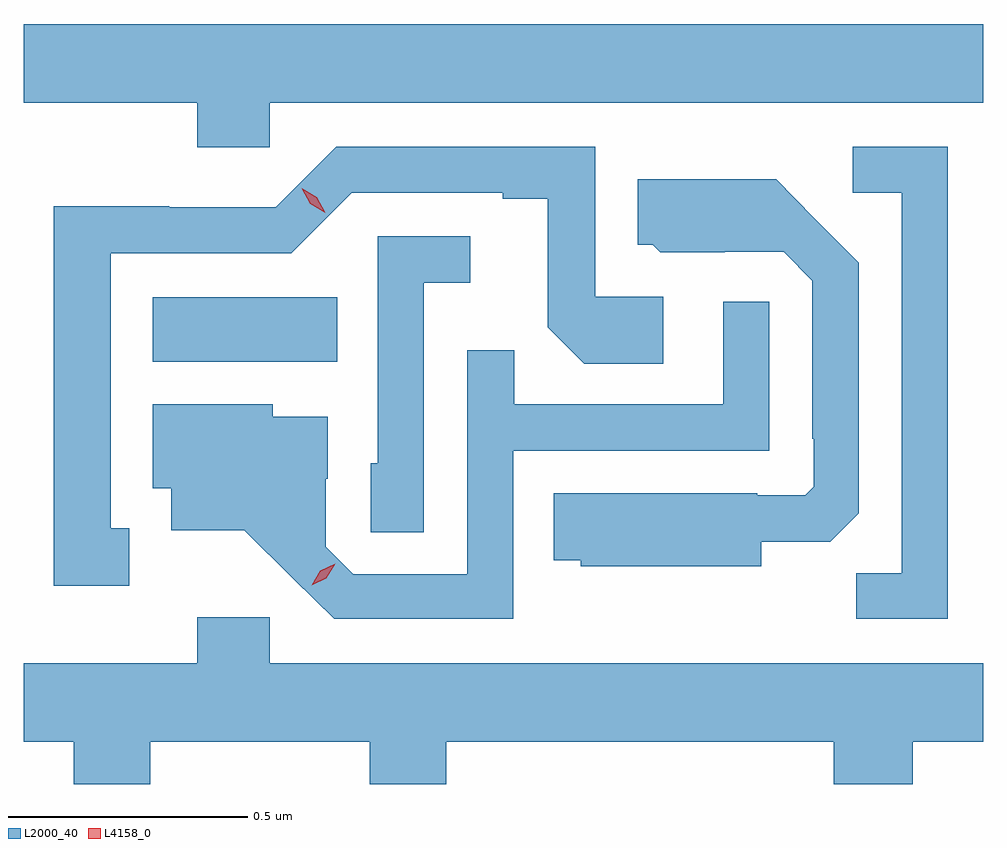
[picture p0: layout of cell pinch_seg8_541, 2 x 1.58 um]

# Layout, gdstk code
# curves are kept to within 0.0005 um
import gdstk
lib = gdstk.Library(unit=1e-6, precision=1e-09)
def R(c, l, rs):  # rectangles x0, y0, x1, y1
    for r in rs: c.add(gdstk.rectangle(r[:2], r[2:], *l))
def P(c, l, *ps):  # polygons
    for p in ps: c.add(gdstk.Polygon(p, *l))
L2000_40 = (2000, 40)
L4158_0 = (4158, 0)

pinch_seg8_541 = lib.new_cell('pinch_seg8_541')
R(pinch_seg8_541, L2000_40, [(138.038,1109.3,138.422,1109.434)])
P(pinch_seg8_541, L2000_40, [(138.282,1109.84),(139.769,1109.84),(139.769,1110.004),(137.769,1110.004),(137.769,1109.84),(138.131,1109.84),(138.131,1109.747),(138.282,1109.747)],
  [(137.989,1108.953),(137.95,1108.953),(137.95,1109.526),(138.327,1109.526),(138.453,1109.652),(138.767,1109.652),(138.767,1109.64),(138.861,1109.64),(138.861,1109.372),(138.937,1109.296),(139.102,1109.296),(139.102,1109.436),(138.96,1109.436),(138.96,1109.748),(138.42,1109.748),(138.294,1109.622),(138.072,1109.622),(138.072,1109.624),(137.832,1109.624),(137.832,1108.833),(137.989,1108.833)],
  [(139.695,1109.748),(139.497,1109.748),(139.497,1109.652),(139.599,1109.652),(139.599,1108.859),(139.504,1108.859),(139.504,1108.764),(139.695,1108.764)],
  [(139.306,1108.925),(139.45,1108.925),(139.509,1108.984),(139.509,1109.506),(139.337,1109.68),(139.049,1109.68),(139.049,1109.544),(139.08,1109.544),(139.096,1109.528),(139.23,1109.528),(139.23,1109.529),(139.353,1109.529),(139.413,1109.469),(139.413,1109.14),(139.416,1109.14),(139.416,1109.04),(139.398,1109.022),(139.298,1109.022),(139.298,1109.026),(138.874,1109.026),(138.874,1108.886),(138.93,1108.886),(138.93,1108.874),(139.306,1108.874)],
  [(138.603,1109.465),(138.7,1109.465),(138.7,1109.562),(138.507,1109.562),(138.507,1109.088),(138.492,1109.088),(138.492,1108.945),(138.603,1108.945)],
  [(138.789,1109.115),(139.323,1109.115),(139.323,1109.425),(139.227,1109.425),(139.227,1109.211),(138.791,1109.211),(138.791,1109.324),(138.693,1109.324),(138.693,1108.857),(138.456,1108.857),(138.399,1108.914),(138.399,1109.056),(138.403,1109.056),(138.403,1109.185),(138.288,1109.185),(138.288,1109.212),(138.038,1109.212),(138.038,1109.036),(138.077,1109.036),(138.077,1108.949),(138.229,1108.949),(138.416,1108.764),(138.789,1108.764)],
  [(138.033,1108.508),(138.49,1108.508),(138.49,1108.42),(138.65,1108.42),(138.65,1108.508),(139.457,1108.508),(139.457,1108.42),(139.622,1108.42),(139.622,1108.508),(139.769,1108.508),(139.769,1108.672),(138.282,1108.672),(138.282,1108.768),(138.131,1108.768),(138.131,1108.672),(137.769,1108.672),(137.769,1108.508),(137.873,1108.508),(137.873,1108.42),(138.033,1108.42)])
P(pinch_seg8_541, L4158_0, [(138.398,1109.611),(138.366,1109.629),(138.348,1109.662),(138.348,1109.662),(138.349,1109.662),(138.38,1109.643),(138.398,1109.611),(138.398,1109.611)],
  [(138.369,1108.834),(138.369,1108.834),(138.387,1108.864),(138.418,1108.879),(138.418,1108.879),(138.418,1108.879),(138.4,1108.849),(138.369,1108.834)])

lib.write_gds('pinch_seg8_541.gds')
